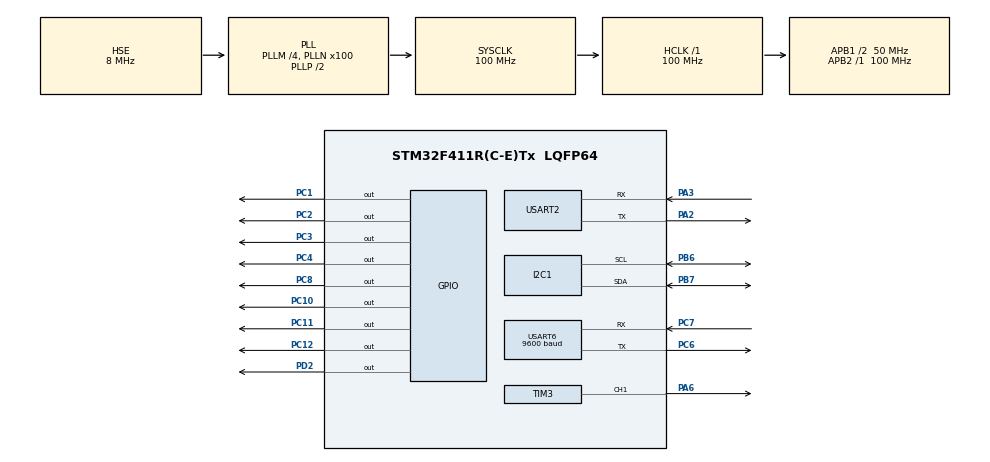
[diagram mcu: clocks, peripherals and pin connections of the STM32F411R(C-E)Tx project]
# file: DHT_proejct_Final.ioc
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Mcu.Family=STM32F4
Mcu.Name=STM32F411R(C-E)Tx
Mcu.Package=LQFP64
NVIC.PriorityGroup=NVIC_PRIORITYGROUP_4
PA13.Mode=Serial_Wire
PA13.Signal=SYS_JTMS-SWDIO
PA14.Mode=Serial_Wire
PA14.Signal=SYS_JTCK-SWCLK
PA2.Mode=Asynchronous
PA2.Signal=USART2_TX
PA3.Mode=Asynchronous
PA3.Signal=USART2_RX
PA6.Signal=S_TIM3_CH1
PB6.Mode=I2C
PB6.Signal=I2C1_SCL
PB7.Mode=I2C
PB7.Signal=I2C1_SDA
PC1.Signal=GPIO_Output
PC10.Signal=GPIO_Output
PC11.Signal=GPIO_Output
PC12.Signal=GPIO_Output
PC2.Signal=GPIO_Output
PC3.Signal=GPIO_Output
PC4.Signal=GPIO_Output
PC6.Mode=Asynchronous
PC6.Signal=USART6_TX
PC7.Mode=Asynchronous
PC7.Signal=USART6_RX
PC8.Signal=GPIO_Output
PD2.Signal=GPIO_Output
PH0\ -\ OSC_IN.Mode=HSE-External-Clock-Source
PH0\ -\ OSC_IN.Signal=RCC_OSC_IN
PH1\ -\ OSC_OUT.Mode=HSE-External-Clock-Source
PH1\ -\ OSC_OUT.Signal=RCC_OSC_OUT
ProjectManager.HeapSize=0x200
ProjectManager.StackSize=0x400
ProjectManager.TargetToolchain=STM32CubeIDE
RCC.48MHZClocksFreq_Value=50000000
RCC.AHBFreq_Value=100000000
RCC.APB1CLKDivider=RCC_HCLK_DIV2
RCC.APB1Freq_Value=50000000
RCC.APB1TimFreq_Value=100000000
RCC.APB2Freq_Value=100000000
RCC.APB2TimFreq_Value=100000000
RCC.CortexFreq_Value=100000000
RCC.HCLKFreq_Value=100000000
RCC.HSE_VALUE=8000000
RCC.HSI_VALUE=16000000
RCC.LSE_VALUE=32768
RCC.PLLM=4
RCC.PLLN=100
RCC.PLLSourceVirtual=RCC_PLLSOURCE_HSE
RCC.SYSCLKFreq_VALUE=100000000
RCC.SYSCLKSource=RCC_SYSCLKSOURCE_PLLCLK
RCC.VCOOutputFreq_Value=200000000
SH.S_TIM3_CH1.0=TIM3_CH1,PWM Generation1 CH1
TIM10.Prescaler=100-1
TIM11.Prescaler=100-1
TIM3.Channel-PWM\ Generation1\ CH1=TIM_CHANNEL_1
TIM3.Period=100-1
TIM3.Prescaler=50-1
USART2.VirtualMode=VM_ASYNC
USART6.BaudRate=9600
USART6.VirtualMode=VM_ASYNC
VP_TIM10_VS_ClockSourceINT.Mode=Enable_Timer
VP_TIM11_VS_ClockSourceINT.Mode=Enable_Timer
board=custom

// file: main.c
/* USER CODE BEGIN Header */
/**
 ******************************************************************************
 * @file           : main.c
 * @brief          : Main program body
 ******************************************************************************
 * @attention
 *
 * Copyright (c) 2025 STMicroelectronics.
 * All rights reserved.
 *
 * This software is licensed under terms that can be found in the LICENSE file
 * in the root directory of this software component.
 * If no LICENSE file comes with this software, it is provided AS-IS.
 *
 ******************************************************************************
 */
/* USER CODE END Header */
#include "main.h"
#include "i2c.h"
#include "tim.h"
#include "usart.h"
#include "gpio.h"

/* USER CODE BEGIN Includes */
#include "rgb.h"
#include "DHT11.h"
#include "string.h"
#include "stdio.h"
#include "stdint.h"
#include "i2c_lcd.h"
#include "delay.h"
/* USER CODE END Includes */

/* USER CODE BEGIN PTD */

#ifdef __GNUC__
/* With GCC small printf (option LD Linker->Libraries->Small printf
 * set to 'Yes') calls __io_putchar() */
#define PUTCHAR_PROTOTYPE int  __io_putchar(int ch)
#else
#define PUTCHAR_PROTOTYPE int  fputc(int ch, FILE *f)
#endif /* __GNUC__*/

/** @brief Retargets the C library printf function to the USART.
 *  @param None
 *  @retval None
 */
PUTCHAR_PROTOTYPE
{
  /* Place your implementation of fputc here */
  /* e.g. write a character to the USART2 and Loop
     until the end of transmission */
  if(ch == '\n')

    HAL_UART_Transmit(&huart6, (uint8_t*) "\r", 1, 0xFFFF);
    HAL_UART_Transmit(&huart2, (uint8_t*) "\r", 1, 0xFFFF);

  HAL_UART_Transmit(&huart6, (uint8_t*) &ch, 1, 0xFFFF);
  HAL_UART_Transmit(&huart2, (uint8_t*) &ch, 1, 0xFFFF);
  return ch;
}

/* USER CODE END PTD */

/* USER CODE BEGIN PV */
extern TIM_HandleTypeDef htim10;  // TIM10 핸들
extern TIM_HandleTypeDef htim11;  // TIM11 핸들
extern TIM_HandleTypeDef htim3;		// TIM3 핸들

DHT10 dht_in;
DHT11 dht_out;
char msg[100];
char lcd_line1[16];
char lcd_line2[16];

uint32_t last_sensor_time = 0;

uint8_t current_pattern[8];
uint8_t use_fan_animation = 0;
uint8_t use_flame_animation =0;
uint8_t use_smile_animation =0;
uint8_t use_humidification_animation =0;
uint8_t use_dehumidification_animation =0;
uint8_t use_fan_and_humidification_animation =0;
uint8_t use_flame_and_dehumidification_animation =0;
uint8_t use_fan_and_dehumidification_animation =0;
uint8_t use_flame_and_humidification_animation =0;
uint8_t reset_all_animations =0;

extern uint8_t smile[8];
extern uint8_t sad[8];
extern uint8_t blank[8];

/* USER CODE END PV */

void SystemClock_Config(void);

int main(void)
{

  /* MCU Configuration--------------------------------------------------------*/

  /* Reset of all peripherals, Initializes the Flash interface and the Systick. */
  HAL_Init();

  /* Configure the system clock */
  SystemClock_Config();

  /* Initialize all configured peripherals */
  MX_GPIO_Init();
  MX_TIM11_Init();
  MX_USART2_UART_Init();
  MX_USART6_UART_Init();
  MX_TIM10_Init();
  MX_I2C1_Init();
  MX_TIM3_Init();
  /* USER CODE BEGIN 2 */

  dht10Init(&dht_in, GPIOD, GPIO_PIN_2, &htim10);
  dht11Init(&dht_out, GPIOC, GPIO_PIN_4, &htim11);

  i2c_lcd_init();

  HAL_TIM_PWM_Start(&htim3, TIM_CHANNEL_1);
  TIM3 ->CCR1 = 0;

  void reset_all_animations(void)
  {
    use_fan_animation = 0;
    use_flame_animation = 0;
    use_smile_animation = 0;
    use_humidification_animation = 0;
    use_dehumidification_animation = 0;
    use_fan_and_humidification_animation = 0;
    use_flame_and_dehumidification_animation = 0;
    use_fan_and_dehumidification_animation = 0;
    use_flame_and_humidification_animation = 0;
  };

  /* USER CODE END 2 */

  /* Infinite loop */
  /* USER CODE BEGIN WHILE */
  while (1)
    {
	  if (HAL_GetTick() - last_sensor_time >= 2000)
	  {
		  if (dht10Read(&dht_in))
		  {
			  sprintf(msg, "IN: %d,%d\n", dht_in.temperature_in, dht_in.humidity_in);
			  HAL_UART_Transmit(&huart6, (uint8_t *)msg, strlen(msg), 1000);
			  HAL_UART_Transmit(&huart2, (uint8_t *)msg, strlen(msg), 1000);
			  sprintf(lcd_line1, "IN =T:%dC H:%d%%", dht_in.temperature_in, dht_in.humidity_in);

			  if(dht_in.humidity_in > 40 && dht_in.humidity_in <= 55 && dht_in.temperature_in >= 25)
			  {
				  TIM3->CCR1 = 99;
				  LED_R_OFF(); LED_G_OFF(); LED_B_ON();

				    reset_all_animations();
				    use_fan_animation = 1;

				  HAL_GPIO_WritePin(GPIOC, GPIO_PIN_8, GPIO_PIN_RESET);
			  }

			  else if (dht_in.humidity_in > 55 && dht_in.temperature_in >= 25)
			  {
				  TIM3->CCR1 = 99;
				  LED_R_OFF(); LED_G_ON(); LED_B_ON();
				  reset_all_animations();
				  use_fan_and_dehumidification_animation = 1;
				  HAL_GPIO_WritePin(GPIOC, GPIO_PIN_8, GPIO_PIN_RESET);
			  }

			  else if (dht_in.humidity_in > 55 && dht_in.temperature_in > 20 &&dht_in.temperature_in < 25)
			  {
				  TIM3->CCR1 = 0;
				  LED_R_OFF(); LED_G_ON(); LED_B_OFF();
				    reset_all_animations();
				  use_dehumidification_animation =1;
				  HAL_GPIO_WritePin(GPIOC, GPIO_PIN_8, GPIO_PIN_RESET);
			  }
			  // 히터 가습기
			  else if(dht_in.humidity_in <= 40 && dht_in.temperature_in <= 20)
			  {
				  TIM3->CCR1 = 0;
				  LED_R_ON(); LED_G_OFF(); LED_B_OFF();
				    reset_all_animations();
				  use_flame_and_humidification_animation =1;
				  HAL_GPIO_WritePin(GPIOC, GPIO_PIN_8, GPIO_PIN_SET);
			  }

			  else if (dht_in.humidity_in >40 && dht_in.humidity_in <= 55 && dht_in.temperature_in < 25 && dht_in.temperature_in > 20 )
			  {
				  TIM3->CCR1 = 0;
				  LED_R_ON(); LED_G_ON(); LED_B_ON();
				    reset_all_animations();
  				  use_smile_animation = 1;
				  HAL_GPIO_WritePin(GPIOC, GPIO_PIN_8, GPIO_PIN_RESET);

			  }

			  else if (dht_in.humidity_in <= 40 && dht_in.temperature_in < 25 && dht_in.temperature_in > 20 )
			  {
				  TIM3->CCR1 = 0;
				  LED_R_OFF(); LED_G_OFF(); LED_B_OFF();
				    reset_all_animations();
  				  use_humidification_animation=1;
				  HAL_GPIO_WritePin(GPIOC, GPIO_PIN_8, GPIO_PIN_SET);

			  }

			  else if ( dht_in.humidity_in < 55 &&dht_in.humidity_in >= 40 && dht_in.temperature_in <= 20)
			  {
				  TIM3->CCR1 = 0;
				  LED_R_ON(); LED_G_OFF(); LED_B_OFF();
				  reset_all_animations();
				  use_flame_animation = 1;
				  HAL_GPIO_WritePin(GPIOC, GPIO_PIN_8, GPIO_PIN_RESET);

			  }

			  else if (dht_in.humidity_in < 40 && dht_in.temperature_in >= 25)
			  {
			      TIM3->CCR1 = 99;
			      LED_R_OFF(); LED_G_OFF(); LED_B_ON();
			      reset_all_animations();
  			    use_fan_and_humidification_animation = 1;
			      HAL_GPIO_WritePin(GPIOC, GPIO_PIN_8, GPIO_PIN_SET);
			  }
			  else if (dht_in.humidity_in > 55 && dht_in.temperature_in <= 20)
			  {

			      TIM3->CCR1 = 0;
			      LED_R_ON(); LED_G_ON(); LED_B_OFF();
			      reset_all_animations();
			      use_flame_and_dehumidification_animation=1;
			      HAL_GPIO_WritePin(GPIOC, GPIO_PIN_8, GPIO_PIN_RESET);
			  }

		  }
		  else
		  {
			   HAL_UART_Transmit(&huart6, (uint8_t *)"IN_ERR\n", 7, 1000);
			   sprintf(lcd_line1, "IN=ERROR");
			   reset_all_animations();
			   HAL_GPIO_WritePin(GPIOC, GPIO_PIN_8, GPIO_PIN_RESET);
		  }

		  if (dht11Read(&dht_out))
		  {
			  sprintf(msg, "OUT: %d,%d\n", dht_out.temperature_out, dht_out.humidity_out);
			  HAL_UART_Transmit(&huart6, (uint8_t *)msg, strlen(msg), 1000);
			  HAL_UART_Transmit(&huart2, (uint8_t *)msg, strlen(msg), 1000);
			  sprintf(lcd_line2, "OUT=T:%dC H:%d%%", dht_out.temperature_out, dht_out.humidity_out);
		  }
		  else
		  {
			  HAL_UART_Transmit(&huart6, (uint8_t *)"OUT_ERR\n", 8, 1000);
			  sprintf(lcd_line2, "OUT=ERROR");
		  }

		  move_cursor(0, 0); lcd_string(lcd_line1);
		  move_cursor(1, 0); lcd_string(lcd_line2);

		  last_sensor_time = HAL_GetTick();
	  }

	  if (use_fan_animation)
	  {
		  animate_fan_pattern_rowwise();
	  }

	  else if(use_flame_animation)
	  {
		  animate_flame_pattern_rowwise();
	  }

	  else if(use_humidification_animation)
	  {
		  animate_humidification_pattern_rowwise();
	  }

	  else if(use_dehumidification_animation)
	  {
		  animate_dehumidification_pattern_rowwise();
	  }

	  else if(use_smile_animation)
	  {
	  	  animate_smile_pattern_rowwise();
	  }

	  else if(use_fan_and_humidification_animation)
	  {
		  animate_fan_and_humidification_pattern_rowwise();
	  }

	  else if(use_flame_and_dehumidification_animation)
	  {
		  animate_flame_and_dehumidification_pattern_rowwise();
	  }

	  else if(use_fan_and_dehumidification_animation)
	  {
		  animate_fan_and_dehumidification_pattern_rowwise();
	  }

	  else if(use_flame_and_humidification_animation)
	  {
		  void animate_flame_and_humidification_pattern_rowwise();
	  }
	  else
	  {
		  display_pattern_rowwise(current_pattern);
	  }

	 // HAL_Delay(1);
    }
    /* USER CODE END WHILE */

}

void SystemClock_Config(void)
{
  RCC_OscInitTypeDef RCC_OscInitStruct = {0};
  RCC_ClkInitTypeDef RCC_ClkInitStruct = {0};

  /** Configure the main internal regulator output voltage
  */
  __HAL_RCC_PWR_CLK_ENABLE();
  __HAL_PWR_VOLTAGESCALING_CONFIG(PWR_REGULATOR_VOLTAGE_SCALE1);

  /** Initializes the RCC Oscillators according to the specified parameters
  * in the RCC_OscInitTypeDef structure.
  */
  RCC_OscInitStruct.OscillatorType = RCC_OSCILLATORTYPE_HSE;
  RCC_OscInitStruct.HSEState = RCC_HSE_BYPASS;
  RCC_OscInitStruct.PLL.PLLState = RCC_PLL_ON;
  RCC_OscInitStruct.PLL.PLLSource = RCC_PLLSOURCE_HSE;
  RCC_OscInitStruct.PLL.PLLM = 4;
  RCC_OscInitStruct.PLL.PLLN = 100;
  RCC_OscInitStruct.PLL.PLLP = RCC_PLLP_DIV2;
  RCC_OscInitStruct.PLL.PLLQ = 4;
  if (HAL_RCC_OscConfig(&RCC_OscInitStruct) != HAL_OK)
  {
    Error_Handler();
  }

  /** Initializes the CPU, AHB and APB buses clocks
  */
  RCC_ClkInitStruct.ClockType = RCC_CLOCKTYPE_HCLK|RCC_CLOCKTYPE_SYSCLK
                              |RCC_CLOCKTYPE_PCLK1|RCC_CLOCKTYPE_PCLK2;
  RCC_ClkInitStruct.SYSCLKSource = RCC_SYSCLKSOURCE_PLLCLK;
  RCC_ClkInitStruct.AHBCLKDivider = RCC_SYSCLK_DIV1;
  RCC_ClkInitStruct.APB1CLKDivider = RCC_HCLK_DIV2;
  RCC_ClkInitStruct.APB2CLKDivider = RCC_HCLK_DIV1;

  if (HAL_RCC_ClockConfig(&RCC_ClkInitStruct, FLASH_LATENCY_3) != HAL_OK)
  {
    Error_Handler();
  }
}

void Error_Handler(void)
{
  __disable_irq();
  while (1)
    {
    }
}
